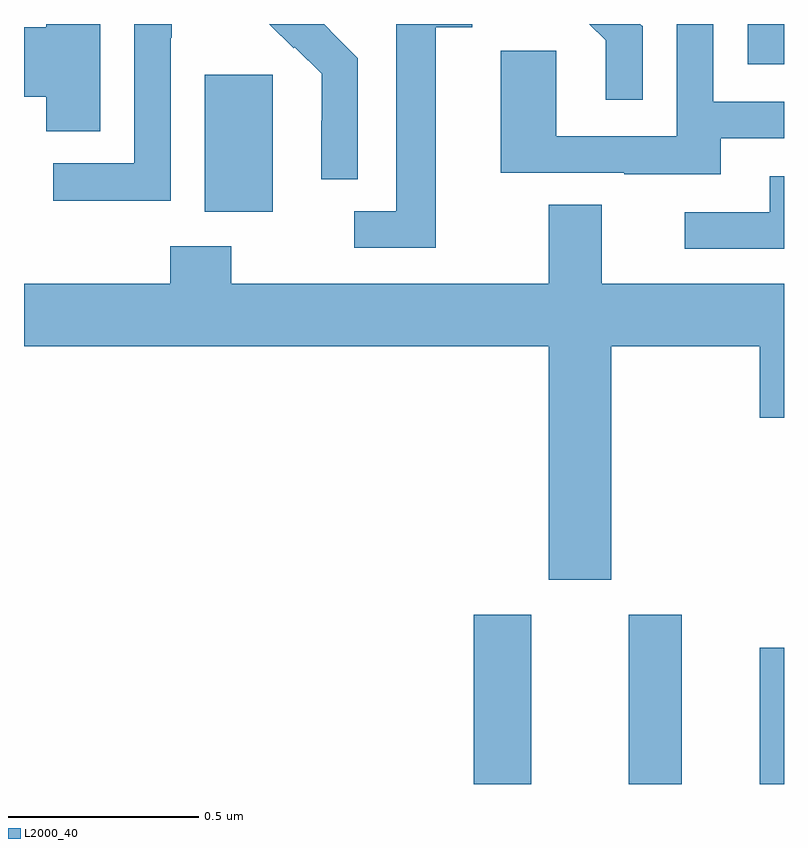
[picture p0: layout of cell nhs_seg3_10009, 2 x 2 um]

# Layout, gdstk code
import gdstk
lib = gdstk.Library(unit=1e-6, precision=1e-09)
def R(c, l, rs):  # rectangles x0, y0, x1, y1
    for r in rs: c.add(gdstk.rectangle(r[:2], r[2:], *l))
def P(c, l, *ps):  # polygons
    for p in ps: c.add(gdstk.Polygon(p, *l))
L2000_40 = (2000, 40)

nhs_seg3_10009 = lib.new_cell('nhs_seg3_10009')
R(nhs_seg3_10009, L2000_40, [(236.183,730.4,236.335,730.846), (236.591,730.4,236.731,730.846), (236.936,730.4,237,730.759), (235.475,731.906,235.654,732.267), (236.904,732.294,237,732.4)])
P(nhs_seg3_10009, L2000_40, [(235.201,732.4),(235.058,732.4),(235.058,732.392),(235,732.392),(235,732.209),(235.058,732.209),(235.058,732.118),(235.201,732.118)],
  [(236.628,732.394),(236.622,732.4),(236.488,732.4),(236.531,732.357),(236.531,732.201),(236.628,732.201)],
  [(236.083,732.392),(236.179,732.392),(236.179,732.4),(235.979,732.4),(235.979,731.907),(235.869,731.907),(235.869,731.811),(236.083,731.811)],
  [(235.878,732.31),(235.805,732.383),(235.806,732.384),(235.79,732.4),(235.646,732.4),(235.71,732.336),(235.713,732.339),(235.784,732.269),(235.784,732.146),(235.782,732.146),(235.782,731.992),(235.878,731.992)],
  [(236.833,732.099),(237,732.099),(237,732.195),(236.814,732.195),(236.814,732.4),(236.718,732.4),(236.718,732.105),(236.4,732.105),(236.4,732.329),(236.255,732.329),(236.255,732.009),(236.579,732.009),(236.579,732.005),(236.833,732.005)],
  [(235.386,732.364),(235.389,732.364),(235.389,732.4),(235.29,732.4),(235.29,732.033),(235.077,732.033),(235.077,731.935),(235.386,731.935)],
  [(237,732),(236.963,732),(236.963,731.904),(236.739,731.904),(236.739,731.808),(237,731.808)],
  [(236.545,731.552),(236.936,731.552),(236.936,731.364),(237,731.364),(237,731.716),(236.521,731.716),(236.521,731.924),(236.381,731.924),(236.381,731.716),(235.545,731.716),(235.545,731.815),(235.385,731.815),(235.385,731.716),(235,731.716),(235,731.552),(236.381,731.552),(236.381,730.938),(236.545,730.938)])

lib.write_gds('nhs_seg3_10009.gds')
